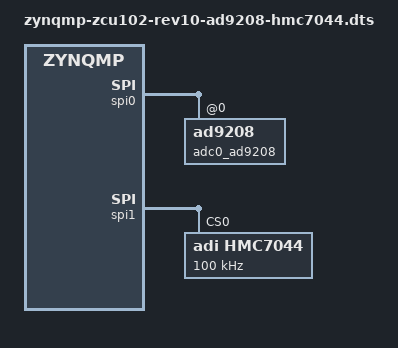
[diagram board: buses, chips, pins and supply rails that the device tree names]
// SPDX-License-Identifier: GPL-2.0
/*
 * dts file for AD9208 on Xilinx ZynqMP ZCU102 Rev 1.0
 *
 * Copyright (C) 2019 Analog Devices Inc.
 *
 */

#include "zynqmp-zcu102-rev10-ad9208.dts"
#include <dt-bindings/iio/frequency/hmc7044.h>

&spi0 {
	status = "okay";

	adc0_ad9208: ad9208@0 {
		adi,sampling-frequency = /bits/ 64 <2949120000>;
	};
};

&spi1 {
	status = "okay";

	hmc7044: hmc7044@0 {
		#address-cells = <1>;
		#size-cells = <0>;
		#clock-cells = <1>;
		compatible = "adi,hmc7044";
		reg = <0>;
		spi-max-frequency = <100000>;

		adi,pll1-clkin-frequencies = <122880000 0 0 0>;

		adi,pll1-loop-bandwidth-hz = <200>;

		adi,vcxo-frequency = <122880000>;

		adi,pll2-output-frequency = <2949120000>;

		adi,sysref-timer-divider = <1024>;
		adi,pulse-generator-mode = <0>;

		adi,clkin0-buffer-mode = <0x15>;
		adi,oscin-buffer-mode = <0x15>;

		adi,gpi-controls = <0x00 0x00 0x00 0x00>;
		adi,gpo-controls = <0x7f 0x7f 0x00 0x00>;

		clock-output-names = "hmc7044_out0", "hmc7044_out1", "hmc7044_out2",
				     "hmc7044_out3", "hmc7044_out4", "hmc7044_out5",
				     "hmc7044_out6", "hmc7044_out7", "hmc7044_out8",
				     "hmc7044_out9", "hmc7044_out10", "hmc7044_out11",
				     "hmc7044_out12", "hmc7044_out13";

		hmc7044_c0: channel@0 {
			reg = <0>;
			adi,extended-name = "CLKOUT0";
			adi,divider = <1>;
			adi,driver-mode = <HMC7044_DRIVER_MODE_LVPECL>;
		};
		hmc7044_c2: channel@2 {
			reg = <2>;
			adi,extended-name = "CLKOUT2";
			adi,divider = <8>;
			adi,driver-mode = <HMC7044_DRIVER_MODE_LVDS>;
		};
		hmc7044_c10: channel@10 {
			reg = <10>;
			adi,extended-name = "CLKOUT3";
			adi,divider = <8>;
			adi,driver-mode = <HMC7044_DRIVER_MODE_LVPECL>;
		};
	};
};
